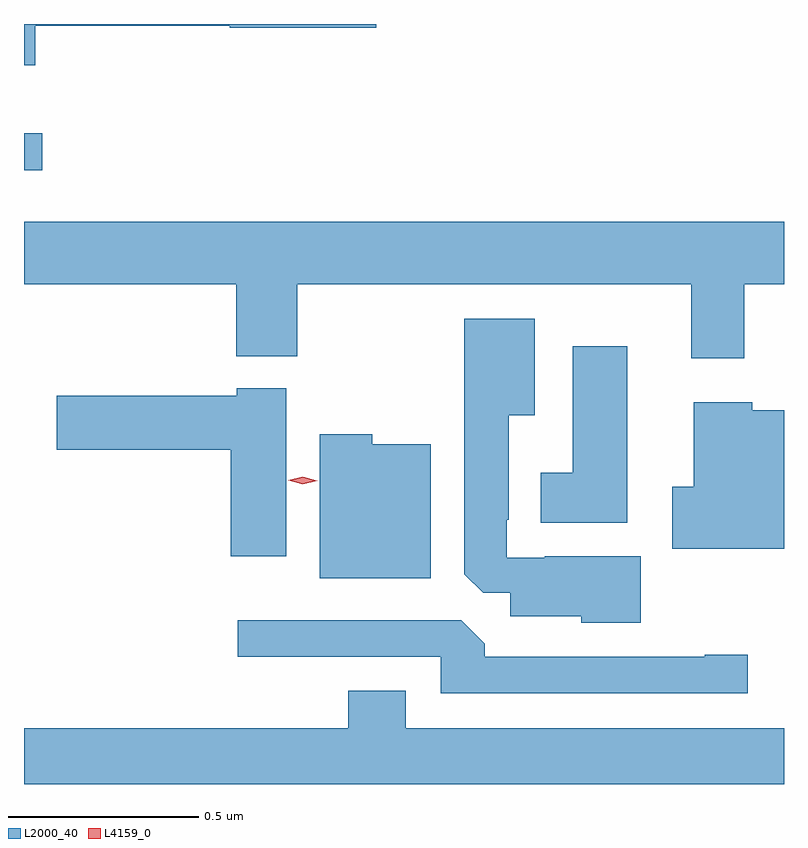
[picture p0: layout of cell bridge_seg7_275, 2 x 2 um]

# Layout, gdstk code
import gdstk
lib = gdstk.Library(unit=1e-6, precision=1e-09)
def R(c, l, rs):  # rectangles x0, y0, x1, y1
    for r in rs: c.add(gdstk.rectangle(r[:2], r[2:], *l))
def P(c, l, *ps):  # polygons
    for p in ps: c.add(gdstk.Polygon(p, *l))
L2000_40 = (2000, 40)
L4159_0 = (4159, 0)

bridge_seg7_275 = lib.new_cell('bridge_seg7_275')
R(bridge_seg7_275, L2000_40, [(145.048,1028.888,145.096,1028.985)])
P(bridge_seg7_275, L2000_40, [(145.078,1029.268),(145.59,1029.268),(145.59,1029.263),(145.975,1029.263),(145.975,1029.273),(145.048,1029.273),(145.048,1029.164),(145.078,1029.164)],
  [(146.944,1028.588),(147.048,1028.588),(147.048,1028.752),(145.048,1028.752),(145.048,1028.588),(145.607,1028.588),(145.607,1028.399),(145.767,1028.399),(145.767,1028.588),(146.804,1028.588),(146.804,1028.394),(146.944,1028.394)],
  [(146.671,1027.873),(146.419,1027.873),(146.419,1027.869),(146.319,1027.869),(146.319,1027.969),(146.323,1027.969),(146.323,1028.243),(146.392,1028.243),(146.392,1028.497),(146.207,1028.497),(146.207,1027.825),(146.256,1027.776),(146.327,1027.776),(146.327,1027.715),(146.514,1027.715),(146.514,1027.697),(146.671,1027.697)],
  [(146.635,1028.425),(146.492,1028.425),(146.492,1028.092),(146.408,1028.092),(146.408,1027.961),(146.635,1027.961)],
  [(145.738,1028.314),(145.608,1028.314),(145.608,1028.295),(145.134,1028.295),(145.134,1028.153),(145.592,1028.153),(145.592,1027.872),(145.738,1027.872)],
  [(147.048,1028.257),(146.964,1028.257),(146.964,1028.278),(146.81,1028.278),(146.81,1028.055),(146.754,1028.055),(146.754,1027.892),(147.048,1027.892)],
  [(146.119,1028.167),(145.965,1028.167),(145.965,1028.194),(145.826,1028.194),(145.826,1027.814),(146.119,1027.814)],
  [(146.953,1027.613),(146.84,1027.613),(146.84,1027.608),(146.261,1027.608),(146.261,1027.642),(146.199,1027.704),(145.611,1027.704),(145.611,1027.608),(146.145,1027.608),(146.145,1027.512),(146.953,1027.512)],
  [(147.048,1027.42),(146.053,1027.42),(146.053,1027.519),(145.901,1027.519),(145.901,1027.42),(145.048,1027.42),(145.048,1027.273),(147.048,1027.273)])
P(bridge_seg7_275, L4159_0, [(145.781,1028.062),(145.743,1028.073),(145.743,1028.073),(145.743,1028.073),(145.782,1028.082),(145.82,1028.071),(145.82,1028.071),(145.82,1028.071)])

lib.write_gds('bridge_seg7_275.gds')
